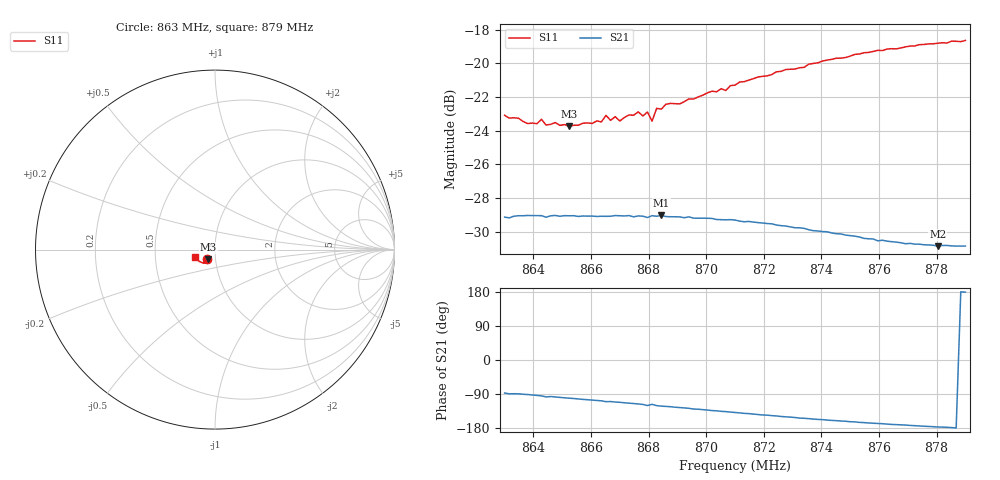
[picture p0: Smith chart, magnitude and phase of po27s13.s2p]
# HZ S RI R 50
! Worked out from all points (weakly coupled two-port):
!   101 points, 863 MHz to 879 MHz, reference 50 ohm
!   highest |S21| = -29.04 dB at 868.44 MHz (marker M1); lowest = -30.9 dB at 878.04 MHz (marker M2)
!   lowest |S11| = -23.7 dB at 865.24 MHz (marker M3), VSWR 1.14, Z = 46.2 - j4.99 ohm
!   |S11| at or under -10 dB: start of sweep to end of sweep
!   S12 and S22 are empty: the file has one direction only
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8.63e8  -0.0458 -0.0531  0.00177 -0.0349  0 0  0 0
8.638e8  -0.0396 -0.0531  -0.00066 -0.0353  0 0  0 0
8.6428e8  -0.0414 -0.0541  -0.00292 -0.0352  0 0  0 0
8.6444e8  -0.0394 -0.0524  -0.00449 -0.0346  0 0  0 0
8.6524e8  -0.0364 -0.0538  -0.00656 -0.0346  0 0  0 0
8.6572e8  -0.0358 -0.0559  -0.00851 -0.0341  0 0  0 0
8.6636e8  -0.0357 -0.0567  -0.0107 -0.0335  0 0  0 0
8.6652e8  -0.0385 -0.0585  -0.012 -0.033  0 0  0 0
8.67e8  -0.0347 -0.0578  -0.013 -0.0328  0 0  0 0
8.6764e8  -0.036 -0.062  -0.0154 -0.0317  0 0  0 0
8.678e8  -0.0341 -0.0609  -0.0161 -0.0312  0 0  0 0
8.6796e8  -0.0353 -0.0624  -0.0175 -0.0301  0 0  0 0
8.6812e8  -0.0337 -0.0583  -0.016 -0.0314  0 0  0 0
8.6828e8  -0.0363 -0.0639  -0.0178 -0.0303  0 0  0 0
8.6844e8  -0.035 -0.0641  -0.0186 -0.0301  0 0  0 0
8.686e8  -0.0369 -0.066  -0.0188 -0.0296  0 0  0 0
8.6908e8  -0.0378 -0.0657  -0.0203 -0.0285  0 0  0 0
8.71e8  -0.0476 -0.0718  -0.0256 -0.0227  0 0  0 0
8.7372e8  -0.0667 -0.0744  -0.0291 -0.013  0 0  0 0
8.7644e8  -0.0915 -0.062  -0.0291 -0.00509  0 0  0 0
8.7804e8  -0.1034 -0.0497  -0.0286 -0.00157  0 0  0 0
8.79e8  -0.1097 -0.0405  -0.0286 0.000486  0 0  0 0
